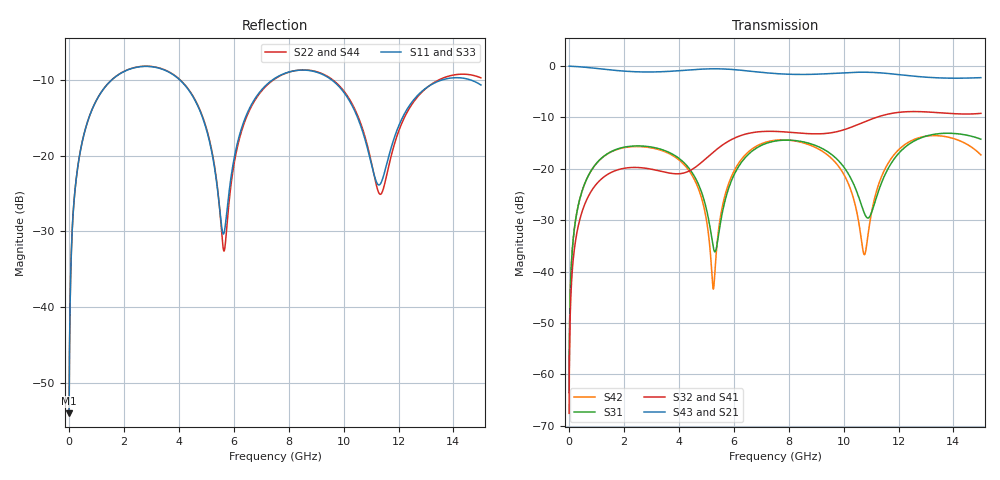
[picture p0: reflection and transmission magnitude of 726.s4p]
! Created with skrf 1.8.0 (http://scikit-rf.org).
# GHz S RI R 50.0
!freq ReS11 ImS11 ReS12 ImS12 ReS13 ImS13
! ReS14 ImS14
! ReS21 ImS21 ReS22 ImS22 ReS23 ImS23
! ReS24 ImS24
! ReS31 ImS31 ReS32 ImS32 ReS33 ImS33
! ReS34 ImS34
! ReS41 ImS41 ReS42 ImS42 ReS43 ImS43
! ReS44 ImS44
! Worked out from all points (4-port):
!   2499 points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, 5 MHz to 15 GHz, reference 50 ohm
!   strongest paths, dB at 5 MHz, 3.476 GHz, 7.19 GHz, 11.1 GHz, 15 GHz:
!     S43: 0.0, -1.1, -1.3, -1.2, -2.3
!     S21: 0.0, -1.1, -1.3, -1.2, -2.2
!     S32: -67.6, -20.6, -12.7, -10.2, -9.2
!     S41: -67.6, -20.7, -12.7, -10.2, -9.3
!     S31: -63.5, -16.4, -15.0, -27.2, -14.2
!     S42: -63.5, -16.6, -14.8, -26.4, -17.3
!   lowest |S11| = -54.0 dB at 5 MHz (marker M1), VSWR 1.00, Z = 50.2 + j0.121 ohm
!   |S11| at or under -10 dB: start of sweep to 1.557 GHz; 4.036 GHz to 7.41 GHz (3.374 GHz wide, 58.9 % of centre); 9.568 GHz to 13.59 GHz (4.018 GHz wide, 34.7 % of centre) (the widest 3 of 4)
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0.005  0.00159 0.0012  0.9984 -0.00309  8.08e-05 0.000662  -7.83e-05 -0.00041
       0.9984 -0.00309  0.00159 0.0012  -7.83e-05 -0.00041  8.07e-05 0.000662
       8.08e-05 0.000662  -7.83e-05 -0.00041  0.00159 0.0012  0.9984 -0.00309
       -7.83e-05 -0.00041  8.07e-05 0.000662  0.9984 -0.00309  0.00159 0.0012
0.3126303  0.0228 0.0794  0.9688 -0.1927  0.011 0.0394  -0.009 -0.0242
           0.9688 -0.1927  0.0229 0.0794  -0.00901 -0.0242  0.0108 0.0395
           0.011 0.0394  -0.00901 -0.0242  0.0228 0.0794  0.9688 -0.1927
           -0.009 -0.0242  0.0108 0.0395  0.9688 -0.1927  0.0229 0.0794
1.569404  0.2622 0.1794  0.5629 -0.7209  0.1337 0.065  -0.0927 -0.00838
          0.5629 -0.7209  0.2634 0.1786  -0.0928 -0.00822  0.1303 0.0694
          0.1337 0.065  -0.0928 -0.00822  0.2622 0.1794  0.5629 -0.7209
          -0.0927 -0.00838  0.1303 0.0694  0.5629 -0.7209  0.2635 0.1786
5.258441  0.0466 -0.0801  -0.8991 -0.2798  -0.0152 -0.00772  -0.0399 0.14
          -0.8991 -0.2798  0.0409 -0.0857  -0.0374 0.1407  0.00672 0.000727
          -0.0152 -0.00772  -0.0374 0.1407  0.0472 -0.0811  -0.8989 -0.2801
          -0.0399 0.14  0.00672 0.000727  -0.8989 -0.2801  0.0411 -0.0869
8.847436  0.3588 -0.0515  0.0324 0.8297  0.1425 -0.0993  0.2051 -0.0715
          0.0324 0.8297  0.3608 -0.0504  0.205 -0.078  0.1442 -0.0849
          0.1425 -0.0993  0.205 -0.078  0.3549 -0.0488  0.0331 0.8308
          0.2051 -0.0715  0.1442 -0.0849  0.0331 0.8308  0.3588 -0.0532
10.75448  0.0915 -0.0965  0.7675 0.4129  -0.0334 -0.0162  0.1328 -0.2535
          0.7675 0.4129  0.0885 -0.1062  0.1235 -0.2582  -0.0146 -0.00129
          -0.0334 -0.0162  0.1235 -0.2582  0.092 -0.0904  0.7693 0.4108
          0.1328 -0.2535  -0.0146 -0.00129  0.7693 0.4108  0.0827 -0.1034
15  0.2773 -0.0944  -0.1409 -0.7608  0.0707 -0.1812  -0.3267 0.1049
    -0.1409 -0.7608  0.3136 -0.0909  -0.324 0.1234  0.0959 -0.0971
    0.0707 -0.1812  -0.324 0.1234  0.2831 -0.0837  -0.1423 -0.7585
    -0.3267 0.1049  0.0959 -0.0971  -0.1423 -0.7585  0.3185 -0.103
